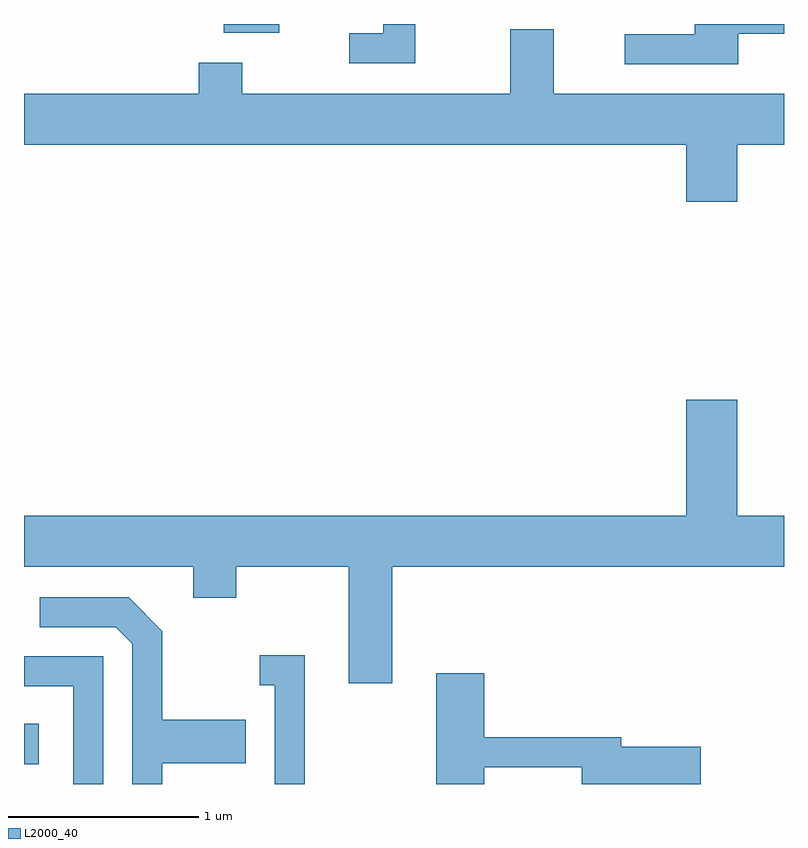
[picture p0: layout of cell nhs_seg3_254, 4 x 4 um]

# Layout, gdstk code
import gdstk
lib = gdstk.Library(unit=1e-6, precision=1e-09)
def R(c, l, rs):  # rectangles x0, y0, x1, y1
    for r in rs: c.add(gdstk.rectangle(r[:2], r[2:], *l))
def P(c, l, *ps):  # polygons
    for p in ps: c.add(gdstk.Polygon(p, *l))
L2000_40 = (2000, 40)

nhs_seg3_254 = lib.new_cell('nhs_seg3_254')
R(nhs_seg3_254, L2000_40, [(191.611,1215.996,191.689,1216.209), (192.661,1219.846,192.954,1219.892)])
P(nhs_seg3_254, L2000_40, [(193.669,1219.892),(193.501,1219.892),(193.501,1219.844),(193.323,1219.844),(193.323,1219.686),(193.669,1219.686)],
  [(195.369,1219.841),(195.611,1219.841),(195.611,1219.892),(195.141,1219.892),(195.141,1219.839),(194.773,1219.839),(194.773,1219.681),(195.369,1219.681)],
  [(195.364,1219.256),(195.611,1219.256),(195.611,1219.524),(194.399,1219.524),(194.399,1219.864),(194.171,1219.864),(194.171,1219.524),(192.759,1219.524),(192.759,1219.689),(192.531,1219.689),(192.531,1219.524),(191.611,1219.524),(191.611,1219.256),(195.096,1219.256),(195.096,1218.956),(195.364,1218.956)],
  [(193.549,1217.036),(195.611,1217.036),(195.611,1217.304),(195.364,1217.304),(195.364,1217.914),(195.096,1217.914),(195.096,1217.304),(191.611,1217.304),(191.611,1217.036),(192.501,1217.036),(192.501,1216.871),(192.729,1216.871),(192.729,1217.036),(193.321,1217.036),(193.321,1216.421),(193.549,1216.421)],
  [(192.339,1216.001),(192.779,1216.001),(192.779,1216.229),(192.339,1216.229),(192.339,1216.697),(192.162,1216.874),(191.693,1216.874),(191.693,1216.716),(192.094,1216.716),(192.181,1216.629),(192.181,1215.892),(192.339,1215.892)],
  [(193.089,1216.569),(192.853,1216.569),(192.853,1216.411),(192.931,1216.411),(192.931,1215.892),(193.089,1215.892)],
  [(192.029,1216.564),(191.611,1216.564),(191.611,1216.406),(191.871,1216.406),(191.871,1215.892),(192.029,1215.892)],
  [(194.034,1215.981),(194.546,1215.981),(194.546,1215.892),(195.174,1215.892),(195.174,1216.089),(194.754,1216.089),(194.754,1216.139),(194.034,1216.139),(194.034,1216.474),(193.781,1216.474),(193.781,1215.892),(194.034,1215.892)])

lib.write_gds('nhs_seg3_254.gds')
